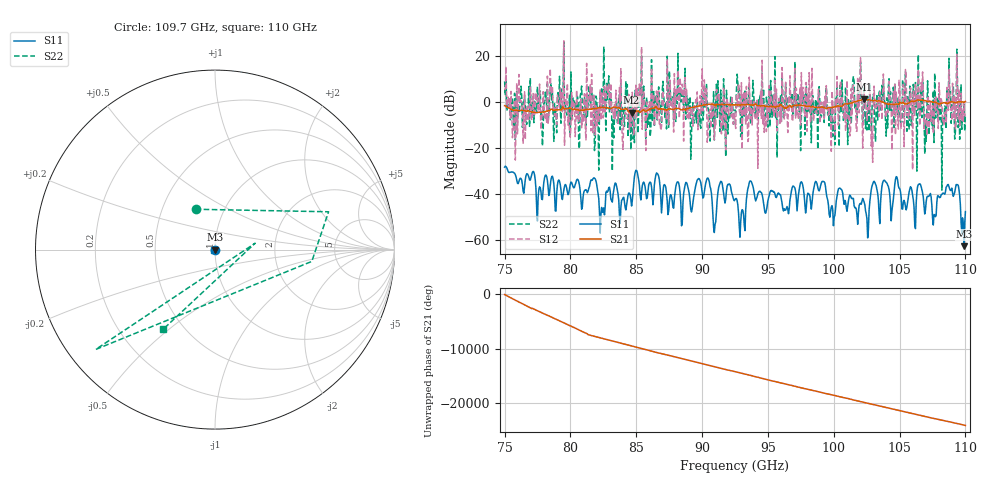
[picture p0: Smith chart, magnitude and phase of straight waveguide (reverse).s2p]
!Created with skrf (http://scikit-rf.org).
# GHz S RI R 50.0
!freq ReS11 ImS11 ReS21 ImS21 ReS12 ImS12 ReS22 ImS22
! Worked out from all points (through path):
!   647 points, 75 GHz to 110 GHz, reference 50 ohm
!   highest |S21| = 0.99 dB at 102.3 GHz (marker M1); lowest = -4.9 dB at 84.65 GHz (marker M2)
!   lowest |S11| = -62.9 dB at 109.9 GHz (marker M3), VSWR 1.00, Z = 49.9 - j0.0281 ohm
!   |S11| at or under -10 dB: start of sweep to end of sweep
!   |S22| runs from -38.5 to 26.6 dB; largest |S21 - S12| = 20
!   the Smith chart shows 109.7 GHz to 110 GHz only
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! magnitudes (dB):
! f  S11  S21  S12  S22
! 75 GHz  -28.5  -1.8  5.4  8.8
! 75.71 GHz  -31.0  -3.8  -8.7  -12.2
! 76.09 GHz  -34.8  -3.9  11.8  -4.9
! 78.85 GHz  -47.5  -3.8  -6.2  -5.4
! 79.34 GHz  -41.6  -3.4  4.6  5.5
! 80.85 GHz  -46.8  -3.9  -11.4  6.8
! 82.91 GHz  -37.5  -2.8  7.9  11.2
! 84.65 GHz  -45.4  -4.9  -5.9  -0.1
! 85.24 GHz  -36.5  -4.8  7.6  5.7
! 86.7 GHz  -32.5  -3.4  4.6  6.4
! 88.33 GHz  -39.6  -3.2  10.3  4.2
! 90.44 GHz  -33.2  -1.2  -15.5  -2.6
! 90.93 GHz  -57.0  -1.4  -16.6  -16.7
! 91.36 GHz  -35.5  -1.4  -8.0  -13.0
! 92.5 GHz  -42.7  -1.4  -8.5  -3.6
! 98.35 GHz  -44.0  -2.2  14.5  0.8
! 102.3 GHz  -43.7  1.0  3.9  6.6
! 104.2 GHz  -38.2  -1.0  8.8  9.9
! 107.6 GHz  -49.1  -0.3  -9.1  -17.8
! 109.3 GHz  -36.1  -0.5  20.6  22.8
! 109.9 GHz  -62.9  -0.4  0.0  -1.2
! 110 GHz  -47.8  0.0  -6.0  -5.5
